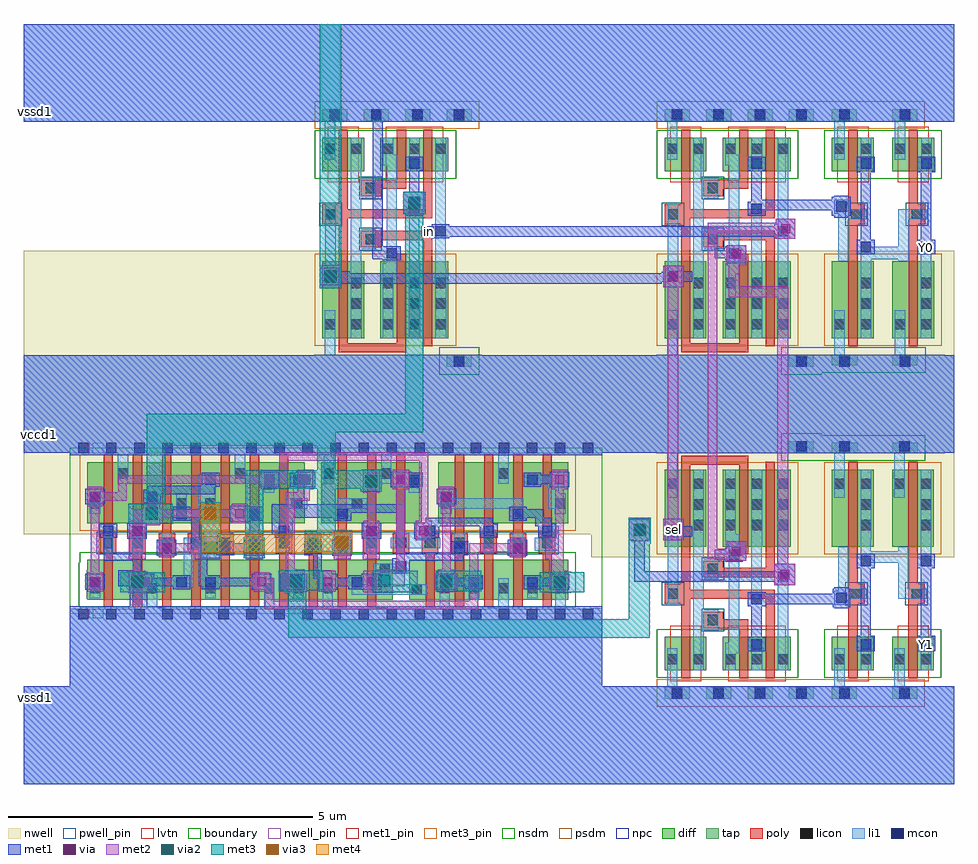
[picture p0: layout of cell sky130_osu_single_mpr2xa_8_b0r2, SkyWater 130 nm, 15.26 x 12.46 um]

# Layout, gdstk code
import gdstk
lib = gdstk.Library(unit=1e-6, precision=1e-09)
def R(c, l, rs):  # rectangles x0, y0, x1, y1
    for r in rs: c.add(gdstk.rectangle(r[:2], r[2:], *l))
def A(c, l, x, y, w, h, nx, ny, dx, dy):  # array of equal rectangles
    R(c, l, [(x+i*dx, y+j*dy, x+i*dx+w, y+j*dy+h) for i in range(nx) for j in range(ny)])
nwell_pin = (64, 16)
nwell = (64, 20)
diff = (65, 20)
tap = (65, 44)
poly = (66, 20)
licon = (66, 44)
li1 = (67, 20)
mcon = (67, 44)
met1_pin = (68, 16)
met1 = (68, 20)
via = (68, 44)
met2 = (69, 20)
via2 = (69, 44)
met3_pin = (70, 16)
met3 = (70, 20)
via3 = (70, 44)
met4 = (71, 20)
nsdm = (93, 44)
psdm = (94, 20)
npc = (95, 20)
pwell_pin = (122, 16)
lvtn = (125, 44)
boundary = (235, 4)

sky130_osu_sc_12t_hs__mu = lib.new_cell('sky130_osu_sc_12T_hs__mux2_1')
R(sky130_osu_sc_12t_hs__mu, nwell, [(-0.05,2.42,2.76,4.51)])
R(sky130_osu_sc_12t_hs__mu, diff, [(0.13,0.57,0.815,1.12), (1.085,0.57,2.2,1.12), (0.13,2.6,0.815,3.86), (1.085,2.6,2.2,3.86)])
A(sky130_osu_sc_12t_hs__mu, tap, 0.13, 0.1, 0.41, 0.2, 4, 1, 0.68, 0)
R(sky130_osu_sc_12t_hs__mu, tap, [(2.17,4.13,2.58,4.33)])
R(sky130_osu_sc_12t_hs__mu, poly, [(0.4,0.44,0.55,1.66), (1.355,0.44,1.505,1.26), (1.785,0.44,1.935,1.74), (0.76,1.26,1.505,1.41), (0.76,1.41,1.095,1.53), (0.13,1.66,0.55,1.74), (0.13,1.74,1.935,1.89), (0.13,1.89,0.55,1.99), (0.4,1.99,0.55,3.94), (0.76,2.1,1.935,2.25), (0.76,2.25,1.095,2.37), (1.785,2.25,1.935,3.99), (1.355,2.47,1.505,3.94), (0.4,3.94,1.505,4.09)])
A(sky130_osu_sc_12t_hs__mu, licon, 0.25, 0.13, 0.17, 0.17, 4, 1, 0.68, 0)
A(sky130_osu_sc_12t_hs__mu, licon, 0.605, 2.865, 0.17, 0.17, 1, 3, 0, 0.34)
A(sky130_osu_sc_12t_hs__mu, licon, 1.125, 2.865, 0.17, 0.17, 1, 3, 0, 0.34)
A(sky130_osu_sc_12t_hs__mu, licon, 1.56, 2.865, 0.17, 0.17, 1, 3, 0, 0.34)
A(sky130_osu_sc_12t_hs__mu, licon, 1.99, 2.865, 0.17, 0.17, 1, 3, 0, 0.34)
R(sky130_osu_sc_12t_hs__mu, licon, [(0.17,0.665,0.34,0.835), (0.605,0.665,0.775,0.835), (1.125,0.665,1.295,0.835), (1.56,0.665,1.73,0.835), (1.99,0.665,2.16,0.835), (0.84,1.31,1.01,1.48), (0.18,1.74,0.35,1.91), (0.84,2.15,1.01,2.32), (0.17,3.545,0.34,3.715), (2.29,4.13,2.46,4.3)])
R(sky130_osu_sc_12t_hs__mu, li1, [(0,0,2.75,0.3), (0.17,0.3,0.34,0.93), (0.6,0.57,0.775,1.06), (1.125,0.57,1.295,0.85), (1.555,0.57,1.73,1.08), (1.985,0.57,2.16,1.12), (1.125,0.85,1.355,1.02), (1.185,1.02,1.355,2.63), (0.6,1.06,0.77,1.23), (1.985,1.12,2.155,2.72), (0.6,1.23,1.01,1.56), (0.6,1.56,0.77,2.07), (1.555,1.65,1.725,2.6), (0.18,1.66,0.35,2.93), (0.6,2.07,1.01,2.4), (0.6,2.4,0.77,2.6), (0.6,2.6,0.775,3.86), (1.555,2.6,1.73,3.86), (1.125,2.63,1.355,2.8), (1.985,2.72,2.16,3.86), (1.125,2.8,1.295,3.86), (0.17,3.4,0.34,4.13), (0,4.13,2.75,4.44)])
A(sky130_osu_sc_12t_hs__mu, mcon, 0.25, 0.1, 0.17, 0.17, 4, 1, 0.68, 0)
R(sky130_osu_sc_12t_hs__mu, mcon, [(1.555,0.91,1.725,1.08), (1.555,1.65,1.725,1.82), (1.985,2.02,2.155,2.19), (1.185,2.38,1.355,2.55), (0.18,2.76,0.35,2.93), (2.29,4.16,2.46,4.33)])
R(sky130_osu_sc_12t_hs__mu, met1, [(0,0,2.75,0.3), (1.495,0.88,1.785,1.11), (1.555,1.11,1.725,1.62), (1.495,1.62,1.785,1.85), (1.925,1.99,2.215,2.02), (1.755,2.02,2.215,2.19), (1.925,2.19,2.215,2.22), (1.125,2.35,1.415,2.38), (0.95,2.38,1.415,2.55), (1.125,2.55,1.415,2.58), (0.12,2.73,0.41,2.76), (0.12,2.76,0.58,2.93), (0.12,2.93,0.41,2.96), (0,4.13,2.75,4.44)])
R(sky130_osu_sc_12t_hs__mu, nsdm, [(0.005,0.445,2.325,1.245), (2.045,4.005,2.705,4.455)])
R(sky130_osu_sc_12t_hs__mu, psdm, [(0.005,-0.025,2.705,0.425), (0.005,2.475,2.325,3.985)])
R(sky130_osu_sc_12t_hs__mu, npc, [(0.74,1.21,1.11,1.58), (0.08,1.64,0.45,2.01), (0.74,2.05,1.11,2.42)])
R(sky130_osu_sc_12t_hs__mu, lvtn, [(0.22,0.39,0.73,1.3), (1.175,0.39,2.115,1.3)])
sky130_osu_sc_12t_hs__mu.add(gdstk.Label('S0', (0.27,2.85), layer=68, texttype=5))
sky130_osu_sc_12t_hs__mu.add(gdstk.Label('Y', (1.645,1.74), layer=68, texttype=5))
sky130_osu_sc_12t_hs__mu.add(gdstk.Label('A0', (1.265,2.47), layer=68, texttype=5))
sky130_osu_sc_12t_hs__mu.add(gdstk.Label('A1', (2.075,2.11), layer=68, texttype=5))
sky130_osu_sc_12t_hs__mu.add(gdstk.Label('vccd1', (2.38,4.2), layer=68, texttype=5))
sky130_osu_sc_12t_hs__mu.add(gdstk.Label('vssd1 ', (0.34,0.24), layer=68, texttype=5))

sky130_osu_sc_12t_hs__in = lib.new_cell('sky130_osu_sc_12T_hs__inv_1')
R(sky130_osu_sc_12t_hs__in, nwell, [(-0.05,2.42,0.995,4.51)])
R(sky130_osu_sc_12t_hs__in, diff, [(0.13,0.57,0.815,1.12), (0.13,2.6,0.815,3.86)])
R(sky130_osu_sc_12t_hs__in, tap, [(0.13,0.1,0.54,0.3), (0.13,4.13,0.55,4.3)])
R(sky130_osu_sc_12t_hs__in, poly, [(0.4,0.44,0.55,1.66), (0.4,1.66,0.67,1.99), (0.4,1.99,0.55,3.99)])
A(sky130_osu_sc_12t_hs__in, licon, 0.605, 2.865, 0.17, 0.17, 1, 3, 0, 0.34)
R(sky130_osu_sc_12t_hs__in, licon, [(0.25,0.13,0.42,0.3), (0.17,0.665,0.34,0.835), (0.605,0.665,0.775,0.835), (0.45,1.74,0.62,1.91), (0.17,3.545,0.34,3.715), (0.25,4.13,0.42,4.3)])
R(sky130_osu_sc_12t_hs__in, li1, [(0,0,0.99,0.3), (0.17,0.3,0.34,0.93), (0.605,0.57,0.775,1.08), (0.23,1.74,0.7,1.91), (0.23,1.91,0.4,2.6), (0.6,2.28,0.77,2.715), (0.6,2.715,0.775,3.86), (0.17,3.4,0.34,4.13), (0,4.13,0.99,4.44)])
R(sky130_osu_sc_12t_hs__in, mcon, [(0.25,0.1,0.42,0.27), (0.605,0.91,0.775,1.08), (0.6,2.28,0.77,2.45), (0.25,4.16,0.42,4.33)])
R(sky130_osu_sc_12t_hs__in, met1, [(0,0,0.99,0.3), (0.54,0.88,0.835,1.14), (0.6,1.14,0.77,2.24), (0.54,2.24,0.77,2.245), (0.54,2.245,0.83,2.48), (0,4.13,0.99,4.44)])
R(sky130_osu_sc_12t_hs__in, nsdm, [(0.005,0.445,0.94,1.245), (0.005,4.005,0.675,4.425)])
R(sky130_osu_sc_12t_hs__in, psdm, [(0.005,-0.025,0.665,0.425), (0.005,2.475,0.94,3.985)])
R(sky130_osu_sc_12t_hs__in, npc, [(0.35,1.64,0.72,2.01)])
R(sky130_osu_sc_12t_hs__in, lvtn, [(0.22,0.39,0.73,1.3)])
sky130_osu_sc_12t_hs__in.add(gdstk.Label('A', (0.32,1.85), layer=67, texttype=5))
sky130_osu_sc_12t_hs__in.add(gdstk.Label('Y', (0.75,1.72), layer=68, texttype=5))
sky130_osu_sc_12t_hs__in.add(gdstk.Label('vccd1', (0.34,4.2), layer=68, texttype=5))
sky130_osu_sc_12t_hs__in.add(gdstk.Label('vssd1', (0.34,0.24), layer=68, texttype=5))

sky130_osu_sc_12t_hs__fi = lib.new_cell('sky130_osu_sc_12T_hs__fill_8')
R(sky130_osu_sc_12t_hs__fi, nwell, [(-0.045,2.425,0.895,4.485)])
R(sky130_osu_sc_12t_hs__fi, li1, [(0,0,0.88,0.305), (0,4.135,0.88,4.44)])
R(sky130_osu_sc_12t_hs__fi, met1, [(0,0,0.88,0.305), (0,4.135,0.88,4.44)])
sky130_osu_sc_12t_hs__fi.add(gdstk.Label('vccd1', (0.555,4.295), layer=68, texttype=5))
sky130_osu_sc_12t_hs__fi.add(gdstk.Label('vssd1', (0.56,0.14), layer=68, texttype=5))

scs130hd_mpr2xa_8 = lib.new_cell('scs130hd_mpr2xa_8')
R(scs130hd_mpr2xa_8, nwell_pin, [(0.38,2.63,0.55,2.8)])
R(scs130hd_mpr2xa_8, nwell, [(-0.24,1.3,8.98,2.91)])
R(scs130hd_mpr2xa_8, diff, [(0.29,0.23,5.3,0.24), (5.57,0.23,8.18,0.88), (0.28,0.24,5.3,0.71), (0.29,0.71,5.3,0.88), (0.29,1.48,3.86,2.48), (4.13,1.48,5.78,2.48), (6.05,1.48,8.18,2.48)])
A(scs130hd_mpr2xa_8, poly, 0.56, 0.1, 0.15, 0.89, 10, 1, 0.48, 0)
A(scs130hd_mpr2xa_8, poly, 5.84, 0.1, 0.15, 0.89, 5, 1, 0.48, 0)
A(scs130hd_mpr2xa_8, poly, 0.5, 0.99, 0.27, 0.33, 16, 1, 0.48, 0)
A(scs130hd_mpr2xa_8, poly, 0.56, 1.32, 0.15, 1.29, 7, 1, 0.48, 0)
A(scs130hd_mpr2xa_8, poly, 4.4, 1.32, 0.15, 1.29, 3, 1, 0.48, 0)
A(scs130hd_mpr2xa_8, poly, 6.32, 1.32, 0.15, 1.29, 4, 1, 0.48, 0)
A(scs130hd_mpr2xa_8, licon, 1.27, 0.33, 0.17, 0.17, 3, 1, 0.96, 0)
A(scs130hd_mpr2xa_8, licon, 6.07, 0.33, 0.17, 0.17, 4, 1, 0.48, 0)
A(scs130hd_mpr2xa_8, licon, 0.55, 1.07, 0.17, 0.17, 16, 1, 0.48, 0)
A(scs130hd_mpr2xa_8, licon, 1.27, 1.72, 0.17, 0.17, 3, 1, 0.48, 0)
R(scs130hd_mpr2xa_8, licon, [(5.61,0.31,5.78,0.48), (0.33,0.33,0.5,0.5), (3.67,0.33,3.84,0.5), (4.15,0.33,4.32,0.5), (7.97,0.33,8.14,0.5), (5.085,0.65,5.255,0.82), (0.33,1.72,0.5,1.89), (3.645,1.72,3.815,1.89), (4.63,1.72,4.8,1.89), (6.09,1.72,6.26,1.89), (7.965,1.72,8.135,1.89), (3.19,2.06,3.36,2.23), (5.565,2.06,5.735,2.23), (0.79,2.21,0.96,2.38), (2.71,2.21,2.88,2.38), (4.17,2.21,4.34,2.38), (5.11,2.21,5.28,2.38), (7.03,2.21,7.2,2.38)])
R(scs130hd_mpr2xa_8, li1, [(0,-0.09,8.74,0.08), (1.27,0.08,1.44,0.58), (3.19,0.08,3.36,0.58), (4.15,0.08,4.32,0.58), (6.07,0.08,6.24,0.58), (7.03,0.08,7.2,0.58), (7.97,0.08,8.14,0.58), (0.33,0.25,0.5,0.6), (2.23,0.25,2.4,0.6), (3.67,0.25,3.84,0.33), (6.55,0.25,6.72,0.6), (7.51,0.25,7.68,0.6), (4.63,0.31,5.87,0.48), (3.53,0.33,3.84,0.55), (1.75,0.43,2.04,0.6), (4.63,0.48,4.8,0.6), (3.63,0.55,3.84,0.58), (3.63,0.58,3.8,0.6), (1.87,0.6,2.04,1.07), (4.99,0.65,5.52,0.82), (5.35,0.82,5.52,0.86), (0.55,0.99,0.72,1.44), (1.03,0.99,1.2,1.44), (1.51,0.99,1.68,1.32), (2.47,0.99,2.64,1.32), (2.95,0.99,3.12,1.72), (3.43,0.99,3.6,1.44), (3.91,0.99,4.08,1.32), (4.39,0.99,4.56,1.32), (4.87,0.99,5.04,1.44), (6.31,0.99,6.48,1.32), (6.79,0.99,6.96,1.44), (7.27,0.99,7.44,1.32), (7.63,1.03,8.02,1.24), (1.87,1.07,2.24,1.24), (5.27,1.07,6.08,1.24), (5.35,1.24,6,1.34), (7.75,1.24,8.02,1.44), (5.83,1.34,6,1.44), (1.75,1.55,1.92,1.97), (4.39,1.55,4.56,1.72), (7.27,1.55,7.44,1.72), (0.33,1.64,0.5,2), (1.27,1.64,1.44,2), (2.23,1.64,2.4,1.72), (6.09,1.64,6.27,1.72), (7.96,1.64,8.135,1.72), (2.11,1.72,2.4,2.28), (3.56,1.72,3.895,1.89), (4.39,1.72,4.88,1.89), (6.09,1.72,7.44,1.89), (7.85,1.72,8.135,1.97), (3.67,1.89,3.84,2.28), (6.09,1.89,6.27,2), (7.85,1.97,8.02,2.11), (3.19,1.98,3.36,2.31), (5.565,1.98,5.74,2.31), (7.51,2.11,8.02,2.28), (0.79,2.13,0.96,2.63), (2.71,2.13,2.88,2.63), (4.17,2.13,4.34,2.63), (5.11,2.13,5.28,2.63), (7.03,2.13,7.2,2.63), (0,2.63,8.74,2.8)])
A(scs130hd_mpr2xa_8, mcon, 0.14, -0.09, 0.17, 0.17, 19, 2, 0.46, 2.72)
A(scs130hd_mpr2xa_8, mcon, 4.87, 1.27, 0.17, 0.17, 4, 1, 0.96, 0)
R(scs130hd_mpr2xa_8, mcon, [(0.33,0.43,0.5,0.6), (1.75,0.43,1.92,0.6), (2.23,0.43,2.4,0.6), (3.63,0.43,3.8,0.6), (4.63,0.43,4.8,0.6), (6.55,0.43,6.72,0.6), (7.51,0.43,7.68,0.6), (5.35,0.69,5.52,0.86), (1.51,0.99,1.68,1.16), (2.47,0.99,2.64,1.16), (3.91,0.99,4.08,1.16), (4.39,0.99,4.56,1.16), (6.31,0.99,6.48,1.16), (7.27,0.99,7.44,1.16), (0.55,1.27,0.72,1.44), (1.03,1.27,1.2,1.44), (3.43,1.27,3.6,1.44), (1.75,1.55,1.92,1.72), (2.95,1.55,3.12,1.72), (4.39,1.55,4.56,1.72), (7.27,1.55,7.44,1.72), (0.33,1.83,0.5,2), (1.27,1.83,1.44,2), (6.1,1.83,6.27,2), (2.23,2.11,2.4,2.28), (3.19,2.11,3.36,2.28), (3.67,2.11,3.84,2.28), (5.565,2.11,5.735,2.28), (7.51,2.11,7.68,2.28)])
R(scs130hd_mpr2xa_8, met1_pin, [(0.15,-0.08,0.32,0.08), (0.15,2.63,0.32,2.8)])
A(scs130hd_mpr2xa_8, met1, 1.43, 0.95, 0.32, 0.26, 3, 1, 2.88, 0)
R(scs130hd_mpr2xa_8, met1, [(0,-0.24,8.74,0.12), (0.26,0.39,0.58,0.65), (1.07,0.39,1.39,0.45), (2.99,0.39,3.31,0.45), (3.46,0.39,3.86,0.65), (4.07,0.39,4.39,0.45), (4.79,0.39,5.11,0.4), (6.02,0.39,6.34,0.45), (7.88,0.39,8.2,0.45), (1.69,0.4,1.98,0.45), (2.17,0.4,2.46,0.45), (4.57,0.4,5.11,0.45), (6.49,0.4,6.78,0.45), (7.45,0.4,7.74,0.45), (0.8,0.45,1.98,0.59), (2.12,0.45,3.31,0.59), (4.07,0.45,5.11,0.57), (6.02,0.45,6.78,0.59), (7.45,0.45,8.2,0.59), (4,0.57,5.11,0.59), (0.8,0.59,1.39,0.65), (1.69,0.59,1.98,0.63), (2.12,0.59,2.46,0.63), (2.99,0.59,3.31,0.65), (4,0.59,4.39,0.65), (4.57,0.59,5.11,0.63), (6.02,0.59,6.34,0.65), (6.49,0.59,6.78,0.63), (7.45,0.59,7.74,0.63), (7.88,0.59,8.2,0.65), (2.12,0.63,2.26,1.05), (4.79,0.63,5.11,0.65), (0.8,0.65,1.18,0.71), (4,0.65,4.3,0.71), (5.29,0.66,5.58,0.87), (1.04,0.71,1.18,0.87), (4,0.71,4.14,0.96), (0.56,0.87,1.18,1.01), (5.29,0.87,6.46,0.91), (5.36,0.91,6.46,0.96), (2.87,0.95,3.19,1.01), (2.41,0.96,2.7,1.01), (3.85,0.96,4.14,1.19), (5.36,0.96,6.54,1.01), (0.56,1.01,0.7,1.24), (2.41,1.01,3.19,1.15), (5.36,1.01,5.5,1.65), (6.25,1.01,6.54,1.19), (2,1.05,2.26,1.19), (2.41,1.15,2.7,1.19), (2.87,1.15,3.19,1.21), (2,1.19,2.14,1.52), (0.95,1.23,1.27,1.49), (4.79,1.23,5.11,1.49), (5.65,1.23,5.97,1.24), (0.49,1.24,0.78,1.47), (3.37,1.24,3.66,1.29), (5.65,1.24,6.06,1.43), (6.73,1.24,7.02,1.43), (7.69,1.24,7.98,1.43), (3.32,1.29,3.66,1.57), (5.65,1.43,7.02,1.47), (7.64,1.43,7.98,1.47), (5.65,1.47,6.94,1.49), (7.64,1.47,7.9,1.57), (5.84,1.49,6.94,1.57), (2.63,1.51,2.95,1.52), (1.69,1.52,2.14,1.71), (2.63,1.52,3.18,1.75), (4.33,1.52,4.62,1.57), (7.21,1.52,7.5,1.57), (3.32,1.57,4.62,1.65), (7.21,1.57,7.78,1.71), (3.32,1.65,5.5,1.79), (1.69,1.71,1.98,1.75), (7.21,1.71,7.5,1.75), (2.63,1.75,2.95,1.77), (0.26,1.79,0.58,2.05), (3.64,1.79,3.81,1.89), (6.02,1.79,6.34,2.05), (1.21,1.8,1.5,1.96), (1.21,1.96,2.38,2.03), (1.28,2.03,2.38,2.08), (3.11,2.07,3.43,2.33), (3.71,2.07,4.03,2.08), (5.27,2.07,5.605,2.08), (7.88,2.07,8.2,2.13), (1.28,2.08,2.46,2.1), (3.61,2.08,4.03,2.31), (5.27,2.08,5.795,2.31), (7.45,2.08,7.74,2.13), (2.17,2.1,2.46,2.31), (7.45,2.13,8.2,2.27), (7.45,2.27,7.74,2.31), (7.88,2.27,8.2,2.33), (3.71,2.31,4.03,2.33), (5.27,2.31,5.605,2.33), (0,2.6,8.74,2.96)])
A(scs130hd_mpr2xa_8, via, 1.515, 1.005, 0.15, 0.15, 3, 1, 1.44, 0)
R(scs130hd_mpr2xa_8, via, [(0.345,0.445,0.495,0.595), (1.155,0.445,1.305,0.595), (3.075,0.445,3.225,0.595), (3.545,0.445,3.695,0.595), (4.155,0.445,4.305,0.595), (4.875,0.445,5.025,0.595), (6.105,0.445,6.255,0.595), (7.965,0.445,8.115,0.595), (7.275,1.005,7.425,1.155), (1.035,1.285,1.185,1.435), (4.875,1.285,5.025,1.435), (5.735,1.285,5.885,1.435), (2.715,1.565,2.865,1.715), (0.345,1.845,0.495,1.995), (6.105,1.845,6.255,1.995), (3.195,2.125,3.345,2.275), (3.795,2.125,3.945,2.275), (5.36,2.125,5.51,2.275), (7.965,2.125,8.115,2.275)])
R(scs130hd_mpr2xa_8, met2, [(3.2,0.07,6.7,0.21), (3.2,0.21,3.34,0.36), (6.56,0.21,6.7,1.01), (0.97,0.33,1.25,0.36), (7.9,0.33,8.18,0.45), (4.82,0.35,5.3,0.45), (6.04,0.35,6.32,0.39), (3.49,0.355,3.9,0.65), (0.29,0.36,0.55,0.68), (0.97,0.36,1.36,0.68), (3.02,0.36,3.34,0.59), (4.09,0.36,4.37,0.7), (5.99,0.39,6.365,0.65), (4.82,0.45,5.5,0.7), (7.87,0.45,8.18,0.705), (3.02,0.59,3.28,0.68), (3.49,0.65,3.86,0.68), (6.04,0.65,6.32,0.72), (0.35,0.68,0.49,1.76), (0.97,0.68,1.25,0.705), (3.55,0.68,3.86,0.73), (5.02,0.7,5.5,0.72), (7.87,0.705,8.11,0.89), (5.36,0.72,5.5,2.04), (6.11,0.72,6.25,1.76), (3.55,0.73,3.69,1.85), (0.97,0.89,1.25,1.26), (2.05,0.89,2.46,1.01), (2.89,0.89,3.17,1.265), (4.33,0.89,4.61,1.36), (4.81,0.89,5.09,1.26), (7.8,0.89,8.11,1.26), (1.46,0.92,1.72,1.01), (7.22,0.92,7.48,1.01), (1.46,1.01,2.46,1.15), (6.56,1.01,7.48,1.15), (1.46,1.15,1.72,1.24), (2.05,1.15,2.46,1.26), (7.22,1.15,7.48,1.24), (5.68,1.2,5.94,1.52), (0.98,1.26,1.24,1.45), (2.155,1.26,2.46,1.265), (4.82,1.26,5.08,1.52), (7.97,1.26,8.11,2.04), (0.98,1.45,1.49,1.52), (2.66,1.48,2.92,1.57), (1.04,1.52,1.49,1.57), (4.88,1.52,5.02,1.98), (5.74,1.52,5.88,2.51), (1.04,1.57,2.92,1.71), (1.21,1.71,1.49,1.825), (2.66,1.71,2.92,1.8), (0.29,1.76,0.55,1.85), (6.05,1.76,6.31,2.08), (0.29,1.85,0.94,1.99), (3.55,1.85,3.94,1.99), (4.81,1.98,5.09,2.36), (0.29,1.99,0.55,2.08), (0.8,1.99,0.94,2.13), (3.74,1.99,3.94,2.04), (3.14,2.04,3.4,2.13), (3.74,2.04,4,2.36), (5.3,2.04,5.575,2.36), (7.91,2.04,8.17,2.36), (0.8,2.13,3.58,2.27), (3.14,2.27,3.58,2.36), (3.44,2.36,3.58,2.51), (3.44,2.51,5.88,2.65)])
R(scs130hd_mpr2xa_8, via2, [(1.01,0.42,1.21,0.62), (7.94,0.42,8.14,0.62), (6.08,0.43,6.28,0.63), (3.62,0.44,3.82,0.64), (5.06,0.44,5.26,0.64), (2.22,0.98,2.42,1.18), (2.93,0.98,3.13,1.18), (4.37,1.07,4.57,1.27), (1.25,1.54,1.45,1.74), (4.85,2.07,5.05,2.27)])
R(scs130hd_mpr2xa_8, met3_pin, [(0.83,0.35,1.56,0.68), (4.98,0.35,5.71,0.7), (7.71,0.35,8.44,0.68), (6.02,0.37,6.75,0.7), (3.43,0.38,4.16,0.71), (0.96,1.47,1.69,1.8), (4.79,2.35,5.12,2.36)])
R(scs130hd_mpr2xa_8, met3, [(4.975,0.345,5.325,0.35), (7.87,0.345,8.23,0.35), (0.83,0.35,1.56,0.68), (4.975,0.35,5.71,0.7), (7.71,0.35,8.44,0.68), (6.01,0.36,6.34,0.37), (3.43,0.37,3.91,0.38), (6.01,0.37,6.75,0.7), (3.43,0.38,4.16,0.71), (0.93,0.68,1.285,0.685), (7.87,0.68,8.23,0.685), (4.975,0.7,5.325,0.705), (2.15,0.91,2.485,1.26), (2.86,0.91,3.2,1.245), (4.31,0.98,4.64,1.01), (4.3,1.01,4.64,1.02), (3.86,1.02,4.64,1.36), (2.86,1.245,3.18,1.26), (2.15,1.26,2.48,1.45), (2.88,1.26,3.18,2.05), (2.15,1.45,2.47,1.83), (0.96,1.47,1.69,1.8), (1.19,1.8,1.505,1.805), (4.78,2,5.12,2.05), (2.88,2.05,5.12,2.35), (4.79,2.35,5.12,2.36)])
R(scs130hd_mpr2xa_8, via3, [(4.37,1.07,4.57,1.27), (2.21,1.54,2.41,1.74)])
R(scs130hd_mpr2xa_8, met4, [(4.31,0.98,4.64,1), (2.16,1,4.64,1.3), (2.16,1.3,2.48,1.47), (4.3,1.3,4.64,1.34), (2.14,1.47,2.48,1.805)])
R(scs130hd_mpr2xa_8, nsdm, [(0.165,0.105,8.305,0.115), (0.155,0.115,8.305,0.835), (0.165,0.835,8.305,1.005)])
R(scs130hd_mpr2xa_8, psdm, [(0.165,1.355,8.305,2.605)])
R(scs130hd_mpr2xa_8, npc, [(0.45,0.97,8.02,1.34)])
R(scs130hd_mpr2xa_8, pwell_pin, [(0.38,-0.08,0.55,0.08)])
R(scs130hd_mpr2xa_8, boundary, [(0,0,8.74,2.72)])
scs130hd_mpr2xa_8.add(gdstk.Label('VPB', (0.465,2.715), layer=64, texttype=5))
scs130hd_mpr2xa_8.add(gdstk.Label('VNB', (0.465,0), layer=64, texttype=59))
scs130hd_mpr2xa_8.add(gdstk.Label('vgnd', (0.235,0), layer=68, texttype=5))
scs130hd_mpr2xa_8.add(gdstk.Label('vpwr', (0.235,2.715), layer=68, texttype=5))
scs130hd_mpr2xa_8.add(gdstk.Label('R0', (5.345,0.525), layer=70, texttype=5))
scs130hd_mpr2xa_8.add(gdstk.Label('R1', (8.075,0.515), layer=70, texttype=5))
scs130hd_mpr2xa_8.add(gdstk.Label('R2', (3.795,0.545), layer=70, texttype=5))
scs130hd_mpr2xa_8.add(gdstk.Label('R3', (6.385,0.535), layer=70, texttype=5))
scs130hd_mpr2xa_8.add(gdstk.Label('B1', (4.955,2.355), layer=70, texttype=5))
scs130hd_mpr2xa_8.add(gdstk.Label('B0', (1.195,0.515), layer=70, texttype=5))
scs130hd_mpr2xa_8.add(gdstk.Label('A0', (1.325,1.635), layer=70, texttype=5))
scs130hd_mpr2xa_8.add(gdstk.Label('A1', (4.64,1.24), layer=71, texttype=5))

sky130_osu_single_mpr2xa = lib.new_cell('sky130_osu_single_mpr2xa_8_b0r2')
R(sky130_osu_single_mpr2xa, nwell, [(9.31,3.72,10.38,5.43), (15.035,3.72,15.26,5.435), (14.29,3.86,14.44,4.035), (10.485,4,10.825,4.35), (0,4.095,0.53,4.1), (0,4.1,0.545,5.435), (9.3,5.43,10.43,5.435), (0,5.435,15.26,8.455), (0,8.455,13.895,8.625), (13.9,8.455,15.26,8.625), (0,8.625,15.26,8.745), (14.69,8.745,14.905,8.75)])
R(sky130_osu_single_mpr2xa, diff, [(14.71,2.205,14.885,2.375)])
R(sky130_osu_single_mpr2xa, li1, [(0,0,15.26,1.6), (0.75,1.6,9.49,2.72), (14.715,2.205,14.885,2.375), (0.875,2.72,9.49,2.795), (2.1,2.795,2.295,2.89), (3.935,2.795,4.13,2.86), (5.775,2.795,5.97,2.89), (7.625,2.795,7.825,2.88), (9.295,2.795,9.49,2.88), (13.295,2.94,13.525,3.17), (13.88,3.625,14.42,3.82), (14.715,4.985,14.885,5.155), (9.3,5.43,10.43,5.435), (15.08,5.43,15.26,5.435), (0,5.435,15.26,7.035), (14.72,7.31,14.89,7.48), (13.895,8.455,13.9,8.61), (13.89,8.61,14.385,8.81), (14.715,8.72,14.885,8.89), (13.295,9.355,13.525,9.585), (0,10.865,15.26,12.465)])
R(sky130_osu_single_mpr2xa, mcon, [(14.715,2.205,14.885,2.375), (13.325,2.97,13.495,3.14), (14.715,8.72,14.885,8.89), (13.325,9.385,13.495,9.555)])
R(sky130_osu_single_mpr2xa, met1_pin, [(14.715,2.205,14.885,2.375), (14.715,8.72,14.885,8.89), (6.58,8.975,6.72,9.145)])
R(sky130_osu_single_mpr2xa, met1, [(0,0,15.26,1.6), (0.75,1.6,9.49,2.72), (14.715,2.205,14.885,2.375), (0.875,2.72,9.49,2.795), (2.1,2.795,2.295,2.89), (3.935,2.795,4.13,2.86), (5.775,2.795,5.97,2.89), (9.295,2.795,9.49,2.88), (7.625,2.84,7.825,2.88), (9.295,2.88,9.42,2.915), (13.295,2.88,13.525,2.9), (13.265,2.9,13.555,2.95), (1.735,2.91,2.025,3.35), (11.935,2.95,13.555,3.115), (11.935,3.115,12.105,3.12), (12.165,3.115,13.555,3.12), (13.265,3.12,13.555,3.205), (13.295,3.205,13.525,3.23), (12.305,3.26,12.655,3.32), (10.015,3.32,12.655,3.49), (10.015,3.49,10.185,3.995), (12.305,3.49,12.655,3.61), (11.53,3.66,11.85,3.69), (11.495,3.69,11.85,3.86), (11.53,3.86,11.85,3.98), (9.925,3.995,10.265,4.345), (10.485,4,10.825,4.35), (9.3,5.43,10.43,5.435), (15.08,5.43,15.26,5.435), (0,5.435,15.26,7.035), (10.485,8.15,10.825,8.235), (4.855,8.18,5.205,8.205), (4.855,8.205,10.465,8.235), (4.855,8.235,10.825,8.38), (4.855,8.38,5.205,8.47), (10.465,8.38,10.825,8.405), (10.485,8.405,10.825,8.5), (11.53,8.545,11.85,8.835), (5.72,8.605,5.89,10.865), (14.715,8.72,14.885,8.89), (12.33,8.945,12.655,8.975), (6.58,8.975,12.655,9.145), (12.33,9.145,12.655,9.27), (13.295,9.29,13.525,9.32), (13.25,9.32,13.56,9.41), (6.22,9.345,6.59,9.715), (11.935,9.345,12.165,9.41), (11.935,9.41,13.56,9.515), (12.165,9.515,13.56,9.545), (12.105,9.545,13.56,9.58), (13.25,9.58,13.56,9.63), (13.295,9.63,13.525,9.645), (0,10.865,15.26,12.465)])
R(sky130_osu_single_mpr2xa, via, [(12.405,3.36,12.555,3.51), (11.615,3.745,11.765,3.895), (10.025,4.095,10.175,4.245), (10.585,4.1,10.735,4.25), (4.955,8.25,5.105,8.4), (10.585,8.25,10.735,8.4), (11.615,8.615,11.765,8.765), (12.42,9.03,12.57,9.18), (6.33,9.455,6.48,9.605)])
R(sky130_osu_single_mpr2xa, met2, [(8.88,3.235,8.935,3.435), (12.305,3.26,12.655,3.61), (12.36,3.61,12.535,7.985), (11.53,3.66,11.85,3.69), (11.215,3.69,11.85,3.86), (11.215,3.86,11.375,9.035), (11.53,3.86,11.85,3.98), (9.955,3.98,10.245,3.995), (9.925,3.995,10.265,4.345), (10.485,4,10.825,4.35), (9.955,4.345,10.245,4.36), (10.565,4.35,10.735,8.15), (11.56,7.985,12.535,8.16), (4.885,8.135,5.175,8.515), (10.485,8.15,10.825,8.5), (11.56,8.16,11.735,8.335), (11.56,8.335,11.73,8.51), (11.53,8.51,11.85,8.835), (12.33,8.945,12.655,9.035), (11.215,9.035,12.655,9.205), (12.33,9.205,12.655,9.27), (6.22,9.345,6.59,9.715)])
R(sky130_osu_single_mpr2xa, via2, [(10,4.07,10.2,4.27), (4.93,8.225,5.13,8.425), (6.305,9.43,6.505,9.63)])
R(sky130_osu_single_mpr2xa, met3, [(4.335,2.4,10.265,2.7), (4.335,2.7,4.635,3.32), (9.925,2.7,10.265,3.94), (4.335,3.32,4.615,3.415), (4.815,3.81,5.115,5.55), (9.925,3.94,10.285,4.365), (2.02,4.31,2.32,5.55), (2.02,5.55,5.115,5.77), (2.02,5.77,6.555,6.07), (6.255,6.07,6.555,9.345), (4.855,8.135,5.205,12.465), (6.22,9.345,6.59,9.715)])
R(sky130_osu_single_mpr2xa, nsdm, [(14.065,1.74,14.115,2.54), (14.585,2.08,15.01,2.5), (13.085,5.3,13.13,5.72), (13.8,5.3,14.115,5.72), (13.085,6.745,13.13,7.165), (13.8,6.745,14.12,7.165), (14.065,9.925,14.12,10.725)])
R(sky130_osu_single_mpr2xa, psdm, [(13.085,1.27,13.13,1.72), (13.79,1.27,14.115,1.72), (14.065,3.77,14.115,5.28), (14.065,7.185,14.12,8.695), (13.085,10.745,13.13,11.195), (13.79,10.745,14.12,11.195)])
sky130_osu_single_mpr2xa.add(gdstk.Reference(sky130_osu_sc_12t_hs__mu, (10.38,11.17), x_reflection=True))
sky130_osu_single_mpr2xa.add(gdstk.Reference(sky130_osu_sc_12t_hs__mu, (4.765,11.17), x_reflection=True))
sky130_osu_single_mpr2xa.add(gdstk.Reference(sky130_osu_sc_12t_hs__mu, (10.38,1.295)))
sky130_osu_single_mpr2xa.add(gdstk.Reference(sky130_osu_sc_12t_hs__in, (13.125,11.17), x_reflection=True))
sky130_osu_single_mpr2xa.add(gdstk.Reference(sky130_osu_sc_12t_hs__in, (14.115,11.17), x_reflection=True))
sky130_osu_single_mpr2xa.add(gdstk.Reference(sky130_osu_sc_12t_hs__in, (14.11,1.295)))
sky130_osu_single_mpr2xa.add(gdstk.Reference(sky130_osu_sc_12t_hs__in, (13.125,1.295)))
sky130_osu_single_mpr2xa.add(gdstk.Reference(sky130_osu_sc_12t_hs__fi, (8.42,11.17), x_reflection=True))
sky130_osu_single_mpr2xa.add(gdstk.Reference(scs130hd_mpr2xa_8, (0.75,2.795)))
sky130_osu_single_mpr2xa.add(gdstk.Label('vssd1', (0.2,11.03), layer=68, texttype=5))
sky130_osu_single_mpr2xa.add(gdstk.Label('vssd1', (0.2,1.42), layer=68, texttype=5))
sky130_osu_single_mpr2xa.add(gdstk.Label('vccd1', (0.25,5.725), layer=68, texttype=5))
sky130_osu_single_mpr2xa.add(gdstk.Label('Y0', (14.8,8.805), layer=68, texttype=5))
sky130_osu_single_mpr2xa.add(gdstk.Label('Y1', (14.8,2.29), layer=68, texttype=5))
sky130_osu_single_mpr2xa.add(gdstk.Label('in', (6.65,9.06), layer=68, texttype=5))
sky130_osu_single_mpr2xa.add(gdstk.Label('sel', (10.65,4.175), layer=69, texttype=5))

lib.write_gds('sky130_osu_single_mpr2xa_8_b0r2.gds')
